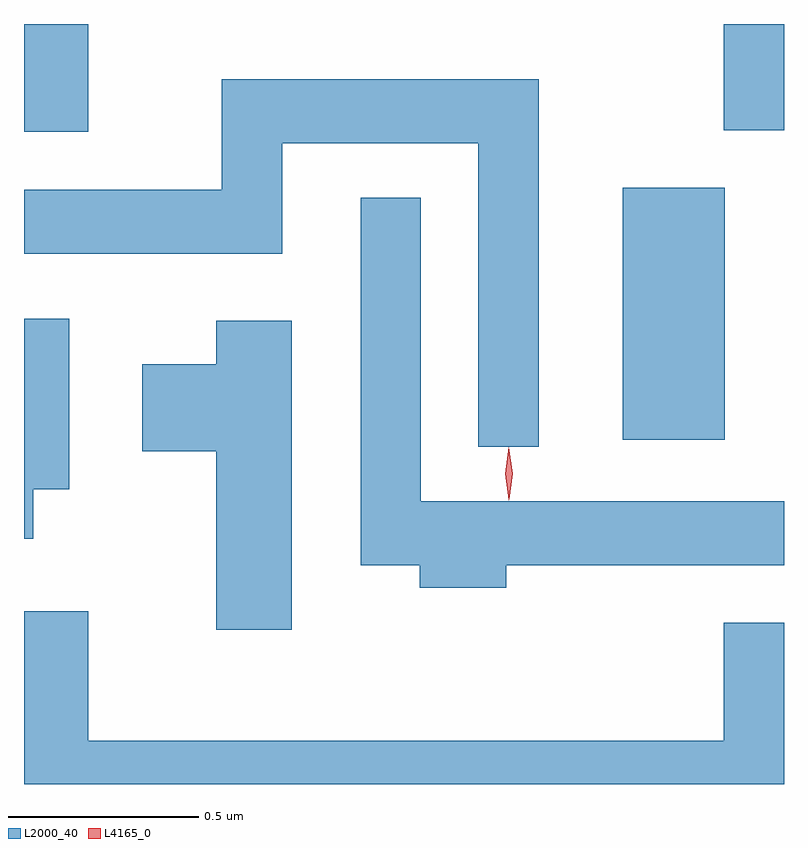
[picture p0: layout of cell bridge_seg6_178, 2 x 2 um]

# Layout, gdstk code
import gdstk
lib = gdstk.Library(unit=1e-6, precision=1e-09)
def R(c, l, rs):  # rectangles x0, y0, x1, y1
    for r in rs: c.add(gdstk.rectangle(r[:2], r[2:], *l))
def P(c, l, *ps):  # polygons
    for p in ps: c.add(gdstk.Polygon(p, *l))
L2000_40 = (2000, 40)
L4165_0 = (4165, 0)

bridge_seg6_178 = lib.new_cell('bridge_seg6_178')
R(bridge_seg6_178, L2000_40, [(1119.166,1575.516,1119.434,1576.179), (1117.59,1576.326,1117.759,1576.61), (1119.431,1576.331,1119.59,1576.61)])
P(bridge_seg6_178, L2000_40, [(1118.944,1576.464),(1118.111,1576.464),(1118.111,1576.174),(1117.59,1576.174),(1117.59,1576.006),(1118.269,1576.006),(1118.269,1576.296),(1118.786,1576.296),(1118.786,1575.498),(1118.944,1575.498)],
  [(1118.859,1575.186),(1119.59,1575.186),(1119.59,1575.354),(1118.634,1575.354),(1118.634,1576.153),(1118.476,1576.153),(1118.476,1575.186),(1118.631,1575.186),(1118.631,1575.126),(1118.859,1575.126)],
  [(1117.614,1575.386),(1117.709,1575.386),(1117.709,1575.834),(1117.59,1575.834),(1117.59,1575.256),(1117.614,1575.256)],
  [(1118.294,1575.829),(1118.096,1575.829),(1118.096,1575.714),(1117.901,1575.714),(1117.901,1575.486),(1118.096,1575.486),(1118.096,1575.016),(1118.294,1575.016)],
  [(1119.59,1575.034),(1119.431,1575.034),(1119.431,1574.724),(1117.759,1574.724),(1117.759,1575.064),(1117.59,1575.064),(1117.59,1574.61),(1119.59,1574.61)])
P(bridge_seg6_178, L4165_0, [(1118.866,1575.359),(1118.866,1575.36),(1118.856,1575.426),(1118.866,1575.492),(1118.866,1575.493),(1118.866,1575.492),(1118.876,1575.426),(1118.867,1575.36)],
  [(1118.866,1575.357),(1118.865,1575.358),(1118.856,1575.427),(1118.865,1575.496),(1118.866,1575.496),(1118.866,1575.496),(1118.876,1575.427),(1118.866,1575.358)])

lib.write_gds('bridge_seg6_178.gds')
